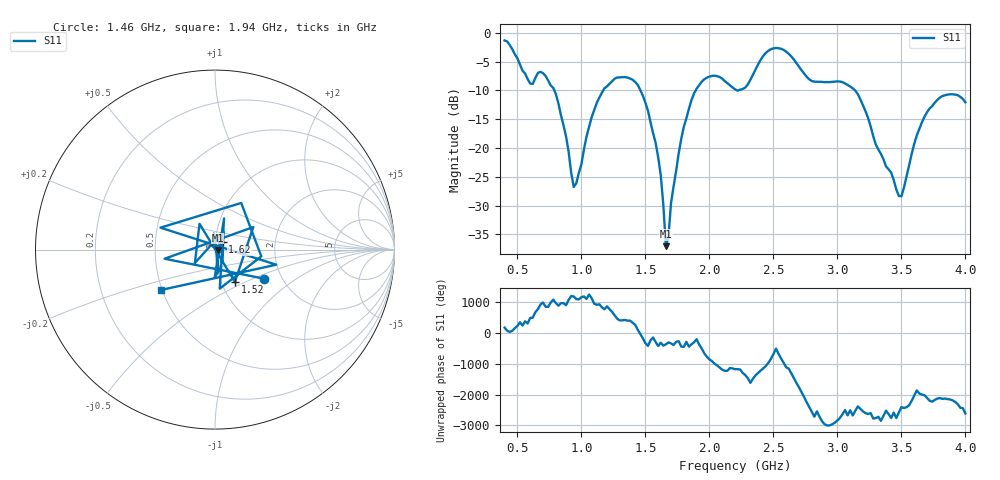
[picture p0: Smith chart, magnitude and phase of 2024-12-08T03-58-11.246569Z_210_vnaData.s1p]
!Created with skrf (http://scikit-rf.org).
# Hz S RI R 50.0
!freq ReS11 ImS11
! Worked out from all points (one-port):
!   181 points, 400 MHz to 4 GHz, reference 50 ohm
!   lowest |S11| = -37.0 dB at 1.66 GHz (marker M1), VSWR 1.03, Z = 51.4 - j0.201 ohm
!   |S11| at or under -10 dB: 788.5 MHz to 1.17 GHz (381.9 MHz wide, 39 % of centre); 1.462 GHz to 1.893 GHz (431 MHz wide, 25.7 % of centre); 3.138 GHz to end of sweep (the widest 3 of 4)
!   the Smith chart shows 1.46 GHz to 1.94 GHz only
!   S11 on the Smith chart (normalised r, x): 1.46 GHz: 1.63, -0.59; 1.52 GHz: 1.16, -0.44; 1.62 GHz: 1.08, +0.09; 1.94 GHz: 0.49, -0.26
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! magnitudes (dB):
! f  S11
! 400 MHz  -1.3
! 600 MHz  -8.8
! 720 MHz  -7.5
! 800 MHz  -10.6
! 860 MHz  -16.0
! 940 MHz  -26.8
! 1.12 GHz  -12.2
! 1.3 GHz  -7.7
! 1.46 GHz  -9.9
! 1.52 GHz  -13.5
! 1.62 GHz  -24.7
! 1.66 GHz  -37.0
! 1.68 GHz  -35.5
! 1.76 GHz  -20.9
! 1.86 GHz  -11.7
! 1.94 GHz  -8.5
! 2.2 GHz  -9.8
! 2.28 GHz  -9.5
! 2.48 GHz  -2.9
! 2.66 GHz  -4.6
! 2.8 GHz  -8.4
! 3.1 GHz  -9.3
! 3.18 GHz  -11.6
! 3.48 GHz  -28.3
! 3.56 GHz  -23.0
! 3.66 GHz  -15.6
! 3.76 GHz  -12.1
! 4 GHz  -12.1
